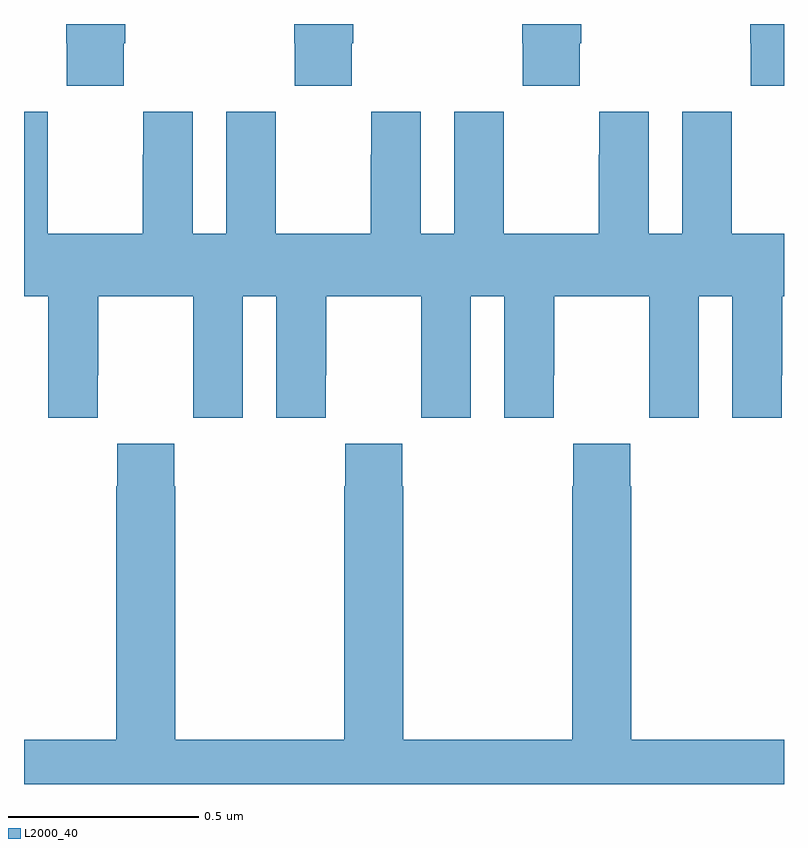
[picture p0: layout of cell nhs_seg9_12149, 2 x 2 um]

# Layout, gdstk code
import gdstk
lib = gdstk.Library(unit=1e-6, precision=1e-09)
def P(c, l, *ps):  # polygons
    for p in ps: c.add(gdstk.Polygon(p, *l))
L2000_40 = (2000, 40)

nhs_seg9_12149 = lib.new_cell('nhs_seg9_12149')
P(nhs_seg9_12149, L2000_40, [(265.263,1166.449),(265.266,1166.449),(265.266,1166.5),(265.111,1166.5),(265.111,1166.449),(265.113,1166.449),(265.113,1166.337),(265.263,1166.337)],
  [(265.863,1166.449),(265.866,1166.449),(265.866,1166.5),(265.711,1166.5),(265.711,1166.449),(265.713,1166.449),(265.713,1166.337),(265.863,1166.337)],
  [(266.463,1166.449),(266.466,1166.449),(266.466,1166.5),(266.311,1166.5),(266.311,1166.449),(266.313,1166.449),(266.313,1166.337),(266.463,1166.337)],
  [(267,1166.5),(266.911,1166.5),(266.911,1166.449),(266.913,1166.449),(266.913,1166.337),(267,1166.337)],
  [(265.532,1165.948),(265.444,1165.948),(265.444,1166.269),(265.314,1166.269),(265.314,1166.156),(265.313,1166.156),(265.313,1165.948),(265.063,1165.948),(265.063,1166.156),(265.062,1166.156),(265.062,1166.269),(265,1166.269),(265,1165.784),(265.064,1165.784),(265.064,1165.464),(265.194,1165.464),(265.194,1165.576),(265.195,1165.576),(265.195,1165.784),(265.445,1165.784),(265.445,1165.576),(265.446,1165.576),(265.446,1165.464),(265.576,1165.464),(265.576,1165.784),(265.664,1165.784),(265.664,1165.464),(265.794,1165.464),(265.794,1165.576),(265.795,1165.576),(265.795,1165.784),(266.045,1165.784),(266.045,1165.576),(266.046,1165.576),(266.046,1165.464),(266.176,1165.464),(266.176,1165.784),(266.264,1165.784),(266.264,1165.464),(266.394,1165.464),(266.394,1165.576),(266.395,1165.576),(266.395,1165.784),(266.645,1165.784),(266.645,1165.576),(266.646,1165.576),(266.646,1165.464),(266.776,1165.464),(266.776,1165.784),(266.864,1165.784),(266.864,1165.464),(266.994,1165.464),(266.994,1165.576),(266.995,1165.576),(266.995,1165.784),(267,1165.784),(267,1165.948),(266.863,1165.948),(266.863,1166.156),(266.862,1166.156),(266.862,1166.269),(266.732,1166.269),(266.732,1165.948),(266.644,1165.948),(266.644,1166.269),(266.514,1166.269),(266.514,1166.156),(266.513,1166.156),(266.513,1165.948),(266.263,1165.948),(266.263,1166.156),(266.262,1166.156),(266.262,1166.269),(266.132,1166.269),(266.132,1165.948),(266.044,1165.948),(266.044,1166.269),(265.914,1166.269),(265.914,1166.156),(265.913,1166.156),(265.913,1165.948),(265.663,1165.948),(265.663,1166.156),(265.662,1166.156),(265.662,1166.269),(265.532,1166.269)],
  [(267,1164.616),(266.598,1164.616),(266.598,1165.283),(266.595,1165.283),(266.595,1165.396),(266.445,1165.396),(266.445,1165.283),(266.443,1165.283),(266.443,1164.616),(265.998,1164.616),(265.998,1165.283),(265.995,1165.283),(265.995,1165.396),(265.845,1165.396),(265.845,1165.283),(265.843,1165.283),(265.843,1164.616),(265.398,1164.616),(265.398,1165.283),(265.395,1165.283),(265.395,1165.396),(265.245,1165.396),(265.245,1165.283),(265.243,1165.283),(265.243,1164.616),(265,1164.616),(265,1164.5),(267,1164.5)])

lib.write_gds('nhs_seg9_12149.gds')
